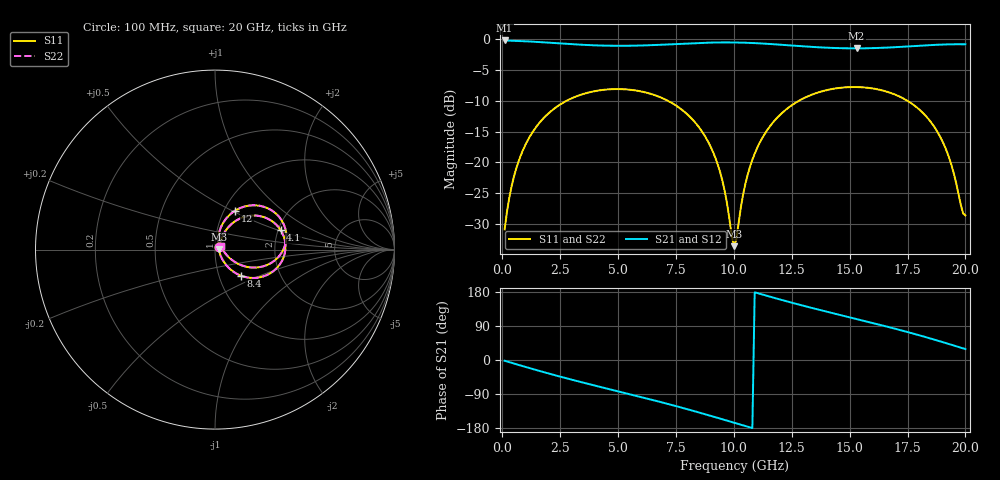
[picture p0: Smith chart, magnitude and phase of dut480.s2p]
! Touchstone file exported from HFSS 2026.1.0
!  File:  C:/ffzhzh/LocalFiles/Ansys_Project_Files/temp_train_TSV_RDL_480_1783104193_50312.aedt
!  Generated:  02:58:46 AM Jul  4, 2026
!  Design:  TSV_RDL
!  Project:  temp_train_TSV_RDL_480_1783104193_50312
! Variables:
!  h_bsmrdl = 5.06um
!  h_ox = 20um
!  h_rdl = 5um
!  h_sub = 75.38um
!  h_tmrdl = 4.52um
!  h_tsv = 75.38um
!  h_via = 3um
!  l_bsmrdl = 479.28um
!  l_sub = 5497.51um
!  l_tmrdl = 883.2um
!  m_sub = 200um
!  pitch = 35.82um
!  r_tsv = 7.4um
!  s_tmrdl = 10um
!  w_bsmrdl = 27.46um
!  w_sub = 500um
!  w_tmrdl = 14.83um
!  x_tsv_center1 = 890.615um
!  x_tsv_center2 = 1397.355um
!  x_tsv_center3 = 2295.385um
!  x_tsv_center4 = 2802.125um
!  x_tsv_center5 = 3700.155um
!  x_tsv_center6 = 4206.895um
# GHz S MA R 50.000000
! Terminal data exported
! Port[1] = TM_RDL1_1_T1
! Port[2] = TM_RDL5_1_T1
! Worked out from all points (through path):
!   200 points, 100 MHz to 20 GHz, reference 50 ohm
!   highest |S21| = -0.21 dB at 100 MHz (marker M1); lowest = -1.5 dB at 15.3 GHz (marker M2)
!   group delay of S21, straight-line fit = 45.5 ps
!   lowest |S11| = -33.6 dB at 10 GHz (marker M3), VSWR 1.04, Z = 52.1 + j0.174 ohm
!   |S11| at or under -10 dB: start of sweep to 2.78 GHz; 7.15 GHz to 12.81 GHz (5.662 GHz wide, 56.7 % of centre); 17.5 GHz to end of sweep
!   |S22| runs from -33.8 to -7.8 dB; largest |S21 - S12| = 1.6e-14
!   S11 on the Smith chart (normalised r, x): 100 MHz: 1.05, +0.03; 4.1 GHz: 2.06, +0.53; 8.4 GHz: 1.27, -0.38; 12 GHz: 1.13, +0.52; 20 GHz: 1.06, +0.04
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0.1  0.02858 31.3  0.976 -1.9  0.976 -1.9  0.02858 31.3
! Gamma 0 0 0 0
! Port Impedance 50 0 50 0
0.5  0.07624 59.6  0.97 -9.3  0.97 -9.3  0.07624 59.6
1.2  0.1633 57.8  0.9571 -21.8  0.9571 -21.8  0.1633 57.8
2.2  0.2691 44.4  0.9313 -39.0  0.9313 -39.0  0.2691 44.4
3.5  0.3591 25.3  0.8992 -59.8  0.8992 -59.8  0.3591 25.3
4.1  0.3816 16.6  0.8894 -69.0  0.8894 -69.0  0.3816 16.6
6.8  0.3391 -22.1  0.8996 -110.3  0.8996 -110.3  0.3391 -22.2
8.4  0.2031 -45.4  0.9297 -136.9  0.9297 -136.9  0.2031 -45.4
9.4  0.08415 -54.0  0.9406 -154.5  0.9406 -154.5  0.0841 -54.2
9.7  0.04712 -47.3  0.9411 -159.9  0.9411 -159.9  0.04698 -47.8
10  0.02088 4.6  0.9402 -165.3  0.9402 -165.3  0.02044 4.3
10.1  0.02341 37.3  0.9395 -167.1  0.9395 -167.1  0.02298 37.7
10.4  0.0548 72.2  0.9367 -172.5  0.9367 -172.5  0.05458 72.7
10.8  0.1049 76.2  0.9306 -179.6  0.9306 -179.6  0.1048 76.4
12  0.2435 62.7  0.9019 159.6  0.9019 159.6  0.2434 62.8
13.4  0.3561 42.6  0.8646 136.9  0.8646 136.9  0.3561 42.7
15.3  0.4085 16.2  0.842 108.1  0.842 108.1  0.4085 16.3
16.7  0.3701 -3.1  0.8555 86.7  0.8555 86.7  0.3701 -3.0
17.8  0.2892 -18.5  0.8793 68.8  0.8793 68.8  0.2892 -18.3
18.7  0.1888 -29.6  0.899 53.0  0.899 53.0  0.1889 -29.3
19.3  0.1085 -31.5  0.9075 42.0  0.9075 42.0  0.1087 -31.1
20  0.03712 33.1  0.9089 28.8  0.9089 28.8  0.0379 33.1
